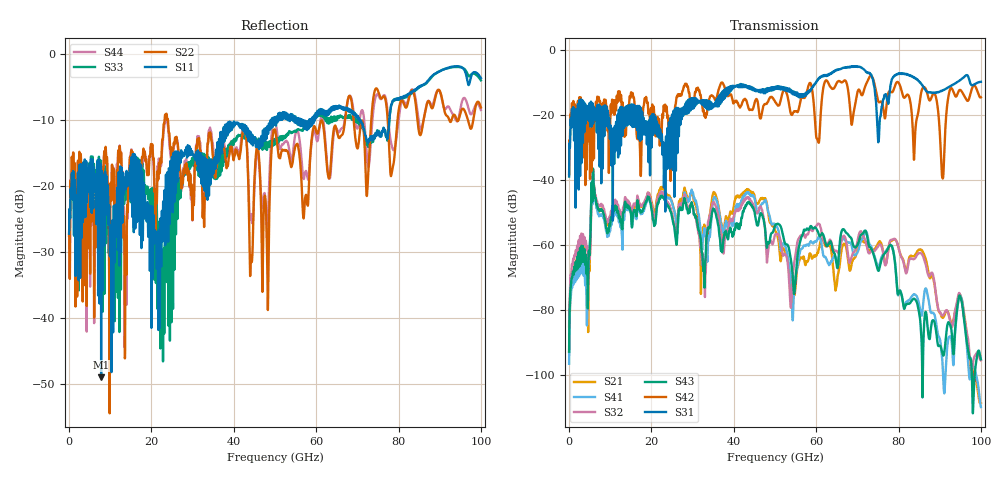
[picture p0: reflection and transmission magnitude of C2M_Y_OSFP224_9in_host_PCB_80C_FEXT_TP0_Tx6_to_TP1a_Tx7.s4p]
# GHz S RI R 45
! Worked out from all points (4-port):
!   4000 points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, 25 MHz to 100 GHz, reference 45 ohm
!   strongest paths, dB at 25 MHz, 25.02 GHz, 50.02 GHz, 75.03 GHz, 100 GHz:
!     S31: -39.0, -19.9, -11.5, -27.7, -9.8
!     S42: -38.3, -28.8, -16.0, -15.6, -14.6
!     S43: -93.0, -51.5, -54.1, -67.9, -95.3
!     S32: -85.2, -50.3, -56.9, -60.5, -95.7
!     S41: -96.7, -47.1, -53.8, -66.9, -110.0
!     S21: -93.1, -46.8, -55.7, -59.6, -108.8
!   lowest |S11| = -49.0 dB at 7.8 GHz (marker M1), VSWR 1.01, Z = 44.7 - j0.169 ohm
!   |S11| at or under -10 dB: start of sweep to 49.23 GHz; 56.53 GHz to 58.34 GHz (1.81 GHz wide, 3.15 % of centre); 70.58 GHz to 77.76 GHz (7.177 GHz wide, 9.68 % of centre) (the widest 3 of 20)
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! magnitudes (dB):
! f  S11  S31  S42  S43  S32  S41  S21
! 25 MHz  -27.2  -39.0  -38.3  -93.0  -85.2  -96.7  -93.1
! 7.8 GHz  -49.0  -31.8  -17.3  -49.1  -47.4  -50.7  -48.9
! 73.33 GHz  -12.7  -7.6  -8.0  -61.1  -62.1  -60.5  -61.5
! 88.75 GHz  -3.1  -13.2  -13.5  -83.9  -71.9  -81.6  -72.4
! 90.67 GHz  -2.4  -12.5  -39.5  -93.4  -81.8  -96.4  -82.5
! 92.6 GHz  -2.0  -11.1  -12.0  -85.0  -84.0  -88.3  -83.5
! 100 GHz  -3.6  -9.8  -14.6  -95.3  -95.7  -110.0  -108.8
